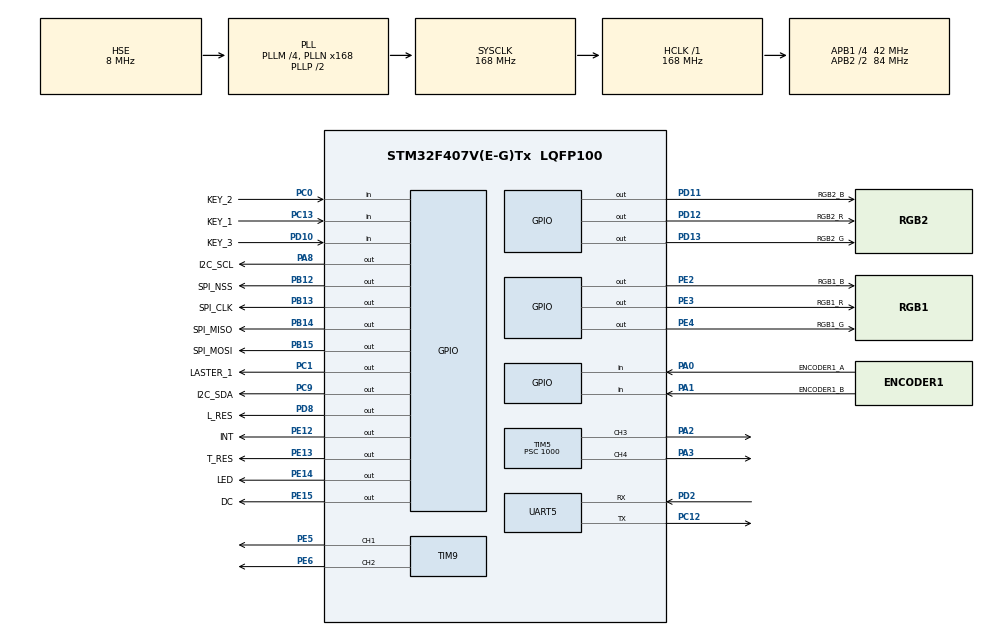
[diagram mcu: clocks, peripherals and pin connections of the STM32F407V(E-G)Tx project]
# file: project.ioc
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Mcu.Family=STM32F4
Mcu.Name=STM32F407V(E-G)Tx
Mcu.Package=LQFP100
NVIC.PriorityGroup=NVIC_PRIORITYGROUP_4
NVIC.TIM5_IRQn=true\:0\:0\:false\:false\:true\:true\:true\:true
NVIC.UART5_IRQn=true\:0\:0\:false\:false\:true\:true\:true\:true
PA0-WKUP.GPIO_Label=ENCODER1_A
PA0-WKUP.Signal=GPIO_Input
PA1.GPIO_Label=ENCODER1_B
PA1.Signal=GPIO_Input
PA13.Mode=Serial_Wire
PA13.Signal=SYS_JTMS-SWDIO
PA14.Mode=Serial_Wire
PA14.Signal=SYS_JTCK-SWCLK
PA2.Signal=S_TIM5_CH3
PA3.Signal=S_TIM5_CH4
PA8.GPIO_Label=I2C_SCL
PA8.GPIO_PuPd=GPIO_PULLUP
PA8.GPIO_Speed=GPIO_SPEED_FREQ_VERY_HIGH
PA8.PinState=GPIO_PIN_SET
PA8.Signal=GPIO_Output
PB12.GPIO_Label=SPI_NSS
PB12.GPIO_PuPd=GPIO_PULLDOWN
PB12.GPIO_Speed=GPIO_SPEED_FREQ_VERY_HIGH
PB12.Signal=GPIO_Output
PB13.GPIO_Label=SPI_CLK
PB13.GPIO_PuPd=GPIO_PULLUP
PB13.GPIO_Speed=GPIO_SPEED_FREQ_VERY_HIGH
PB13.PinState=GPIO_PIN_SET
PB13.Signal=GPIO_Output
PB14.GPIO_Label=SPI_MISO
PB14.GPIO_ModeDefaultOutputPP=GPIO_MODE_OUTPUT_PP
PB14.GPIO_PuPd=GPIO_PULLUP
PB14.GPIO_Speed=GPIO_SPEED_FREQ_VERY_HIGH
PB14.PinState=GPIO_PIN_SET
PB14.Signal=GPIO_Output
PB15.GPIO_Label=SPI_MOSI
PB15.GPIO_PuPd=GPIO_PULLUP
PB15.GPIO_Speed=GPIO_SPEED_FREQ_VERY_HIGH
PB15.PinState=GPIO_PIN_SET
PB15.Signal=GPIO_Output
PC0.GPIO_Label=KEY_2
PC0.GPIO_PuPd=GPIO_PULLUP
PC0.Signal=GPIO_Input
PC1.GPIO_Label=LASTER_1
PC1.GPIO_PuPd=GPIO_PULLDOWN
PC1.Signal=GPIO_Output
PC12.Mode=Asynchronous
PC12.Signal=UART5_TX
PC13-ANTI_TAMP.GPIO_Label=KEY_1
PC13-ANTI_TAMP.GPIO_PuPd=GPIO_PULLUP
PC13-ANTI_TAMP.Signal=GPIO_Input
PC14-OSC32_IN.Mode=LSE-External-Oscillator
PC14-OSC32_IN.Signal=RCC_OSC32_IN
PC15-OSC32_OUT.Mode=LSE-External-Oscillator
PC15-OSC32_OUT.Signal=RCC_OSC32_OUT
PC9.GPIO_Label=I2C_SDA
PC9.GPIO_PuPd=GPIO_PULLUP
PC9.GPIO_Speed=GPIO_SPEED_FREQ_VERY_HIGH
PC9.PinState=GPIO_PIN_SET
PC9.Signal=GPIO_Output
PD10.GPIO_Label=KEY_3
PD10.GPIO_PuPd=GPIO_PULLUP
PD10.Signal=GPIO_Input
PD11.GPIO_Label=RGB2_B
PD11.Signal=GPIO_Output
PD12.GPIO_Label=RGB2_R
PD12.Signal=GPIO_Output
PD13.GPIO_Label=RGB2_G
PD13.Signal=GPIO_Output
PD2.Mode=Asynchronous
PD2.Signal=UART5_RX
PD8.GPIO_Label=L_RES
PD8.GPIO_PuPd=GPIO_PULLUP
PD8.Signal=GPIO_Output
PE12.GPIO_Label=INT
PE12.GPIO_PuPd=GPIO_PULLUP
PE12.GPIO_Speed=GPIO_SPEED_FREQ_VERY_HIGH
PE12.PinState=GPIO_PIN_SET
PE12.Signal=GPIO_Output
PE13.GPIO_Label=T_RES
PE13.GPIO_PuPd=GPIO_PULLUP
PE13.GPIO_Speed=GPIO_SPEED_FREQ_VERY_HIGH
PE13.PinState=GPIO_PIN_SET
PE13.Signal=GPIO_Output
PE14.GPIO_Label=LED
PE14.GPIO_PuPd=GPIO_PULLUP
PE14.GPIO_Speed=GPIO_SPEED_FREQ_HIGH
PE14.PinState=GPIO_PIN_SET
PE14.Signal=GPIO_Output
PE15.GPIO_Label=DC
PE15.GPIO_PuPd=GPIO_PULLUP
PE15.GPIO_Speed=GPIO_SPEED_FREQ_HIGH
PE15.PinState=GPIO_PIN_SET
PE15.Signal=GPIO_Output
PE2.GPIO_Label=RGB1_B
PE2.GPIO_PuPd=GPIO_NOPULL
PE2.Signal=GPIO_Output
PE3.GPIO_Label=RGB1_R
PE3.Signal=GPIO_Output
PE4.GPIO_Label=RGB1_G
PE4.GPIO_Speed=GPIO_SPEED_FREQ_LOW
PE4.Signal=GPIO_Output
PE5.Signal=S_TIM9_CH1
PE6.Signal=S_TIM9_CH2
PH0-OSC_IN.Mode=HSE-External-Oscillator
PH0-OSC_IN.Signal=RCC_OSC_IN
PH1-OSC_OUT.Mode=HSE-External-Oscillator
PH1-OSC_OUT.Signal=RCC_OSC_OUT
ProjectManager.HeapSize=0x200
ProjectManager.StackSize=0x400
ProjectManager.TargetToolchain=MDK-ARM V5.32
RCC.48MHZClocksFreq_Value=84000000
RCC.AHBFreq_Value=168000000
RCC.APB1CLKDivider=RCC_HCLK_DIV4
RCC.APB1Freq_Value=42000000
RCC.APB1TimFreq_Value=84000000
RCC.APB2CLKDivider=RCC_HCLK_DIV2
RCC.APB2Freq_Value=84000000
RCC.APB2TimFreq_Value=168000000
RCC.CortexFreq_Value=168000000
RCC.HCLKFreq_Value=168000000
RCC.HSE_VALUE=8000000
RCC.HSI_VALUE=16000000
RCC.PLLM=4
RCC.PLLN=168
RCC.PLLSourceVirtual=RCC_PLLSOURCE_HSE
RCC.SYSCLKFreq_VALUE=168000000
RCC.SYSCLKSource=RCC_SYSCLKSOURCE_PLLCLK
RCC.VCOOutputFreq_Value=336000000
SH.S_TIM5_CH3.0=TIM5_CH3,PWM Generation3 CH3
SH.S_TIM5_CH4.0=TIM5_CH4,PWM Generation4 CH4
SH.S_TIM9_CH1.0=TIM9_CH1,PWM Generation1 CH1
SH.S_TIM9_CH2.0=TIM9_CH2,PWM Generation2 CH2
TIM5.Channel-PWM\ Generation3\ CH3=TIM_CHANNEL_3
TIM5.Channel-PWM\ Generation4\ CH4=TIM_CHANNEL_4
TIM5.Period=168-1
TIM5.Prescaler=1000
TIM9.Channel-PWM\ Generation1\ CH1=TIM_CHANNEL_1
TIM9.Channel-PWM\ Generation2\ CH2=TIM_CHANNEL_2
UART5.VirtualMode=Asynchronous
VP_TIM5_VS_ClockSourceINT.Mode=Internal
VP_TIM9_VS_ClockSourceINT.Mode=Internal
board=custom

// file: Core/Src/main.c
/* USER CODE BEGIN Header */
/**
  ******************************************************************************
  * @file           : main.c
  * @brief          : Main program body
  ******************************************************************************
  * @attention
  *
  * Copyright (c) 2026 STMicroelectronics.
  * All rights reserved.
  *
  * This software is licensed under terms that can be found in the LICENSE file
  * in the root directory of this software component.
  * If no LICENSE file comes with this software, it is provided AS-IS.
  *
  ******************************************************************************
  */
/* USER CODE END Header */
#include "main.h"
#include "tim.h"
#include "usart.h"
#include "gpio.h"

/* USER CODE BEGIN Includes */
#include "lcd.h"
#include "test code.h"
#include "delay.h"
/* USER CODE END Includes */

/* USER CODE BEGIN PM */
uint8_t data[] = {0x12,0x23};
/* USER CODE END PM */

void SystemClock_Config(void);

int main(void)
{

  /* MCU Configuration--------------------------------------------------------*/

  /* Reset of all peripherals, Initializes the Flash interface and the Systick. */
  HAL_Init();

  /* Configure the system clock */
  SystemClock_Config();

  /* Initialize all configured peripherals */
  MX_GPIO_Init();
  MX_TIM5_Init();
  MX_TIM9_Init();
  MX_UART5_Init();
  /* USER CODE BEGIN 2 */
	delay_init(168);
  /* USER CODE END 2 */

  /* Infinite loop */
  /* USER CODE BEGIN WHILE */

//  HAL_GPIO_WritePin(RGB1_G_GPIO_Port,RGB1_G_Pin,GPIO_PIN_SET);
//  HAL_GPIO_WritePin(RGB1_R_GPIO_Port,RGB1_R_Pin,GPIO_PIN_SET);
	HAL_GPIO_WritePin(DC_GPIO_Port,DC_Pin,GPIO_PIN_SET);

	LCD_Init();
//	FT6336_Init();
	LCD_Display_Dir(USE_LCM_DIR);		 		//��Ļ����
	LCD_Clear(WHITE);		//����
	HAL_GPIO_WritePin(LED_GPIO_Port,LED_Pin,GPIO_PIN_SET);
	HAL_TIM_PWM_Start(&htim5,TIM_CHANNEL_3);
	HAL_TIM_PWM_Start(&htim5,TIM_CHANNEL_4);

	TIM5->CCR3 = 0;
	TIM5->CCR4 = 500;

  while (1)
  {
    /* USER CODE END WHILE */

    /* USER CODE BEGIN 3 */
	//   Color_Test();
	//  main_test(data);

	  HAL_GPIO_TogglePin(RGB1_G_GPIO_Port,RGB1_G_Pin);
	  HAL_GPIO_TogglePin(RGB1_R_GPIO_Port,RGB1_R_Pin);
	  HAL_Delay(1000);
  }
  /* USER CODE END 3 */
}

void SystemClock_Config(void)
{
  RCC_OscInitTypeDef RCC_OscInitStruct = {0};
  RCC_ClkInitTypeDef RCC_ClkInitStruct = {0};

  /** Configure the main internal regulator output voltage
  */
  __HAL_RCC_PWR_CLK_ENABLE();
  __HAL_PWR_VOLTAGESCALING_CONFIG(PWR_REGULATOR_VOLTAGE_SCALE1);

  /** Initializes the RCC Oscillators according to the specified parameters
  * in the RCC_OscInitTypeDef structure.
  */
  RCC_OscInitStruct.OscillatorType = RCC_OSCILLATORTYPE_HSE;
  RCC_OscInitStruct.HSEState = RCC_HSE_ON;
  RCC_OscInitStruct.PLL.PLLState = RCC_PLL_ON;
  RCC_OscInitStruct.PLL.PLLSource = RCC_PLLSOURCE_HSE;
  RCC_OscInitStruct.PLL.PLLM = 4;
  RCC_OscInitStruct.PLL.PLLN = 168;
  RCC_OscInitStruct.PLL.PLLP = RCC_PLLP_DIV2;
  RCC_OscInitStruct.PLL.PLLQ = 4;
  if (HAL_RCC_OscConfig(&RCC_OscInitStruct) != HAL_OK)
  {
    Error_Handler();
  }

  /** Initializes the CPU, AHB and APB buses clocks
  */
  RCC_ClkInitStruct.ClockType = RCC_CLOCKTYPE_HCLK|RCC_CLOCKTYPE_SYSCLK
                              |RCC_CLOCKTYPE_PCLK1|RCC_CLOCKTYPE_PCLK2;
  RCC_ClkInitStruct.SYSCLKSource = RCC_SYSCLKSOURCE_PLLCLK;
  RCC_ClkInitStruct.AHBCLKDivider = RCC_SYSCLK_DIV1;
  RCC_ClkInitStruct.APB1CLKDivider = RCC_HCLK_DIV4;
  RCC_ClkInitStruct.APB2CLKDivider = RCC_HCLK_DIV2;

  if (HAL_RCC_ClockConfig(&RCC_ClkInitStruct, FLASH_LATENCY_5) != HAL_OK)
  {
    Error_Handler();
  }
}

void Error_Handler(void)
{
  __disable_irq();
  while (1)
  {
  }
}
